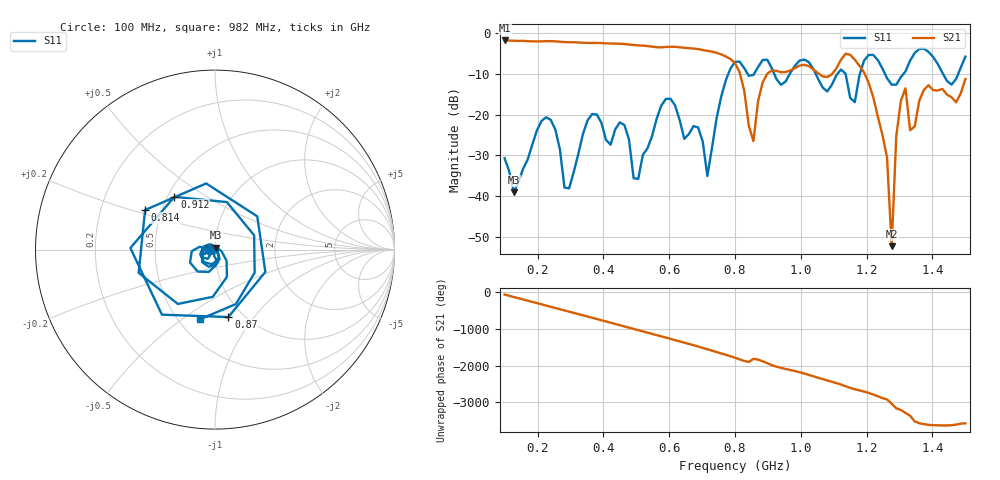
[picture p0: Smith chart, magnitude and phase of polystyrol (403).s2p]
! NanoVNA-App
! Date: 2025-09-25 15:33:01
! Start: 100MHz Stop: 1,5GHz Points: 101
! S-Parameter data: F S11 S21 S12 S22
# Hz S RI R 50
!  Frequency  S11_Real  S11_Imag  S21_Real  S21_Imag  S12_Real  S12_Imag  S22_Real  S22_Imag
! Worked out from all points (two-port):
!   101 points, 100 MHz to 1.5 GHz, reference 50 ohm
!   highest |S21| = -1.80 dB at 100 MHz (marker M1); lowest = -52.3 dB at 1.276 GHz (marker M2)
!   |S21| within 3 dB of the highest: start of sweep to 743 MHz
!   lowest |S11| = -39.1 dB at 128 MHz (marker M3), VSWR 1.02, Z = 50.3 + j1.07 ohm
!   |S11| at or under -10 dB: start of sweep to 779.7 MHz; 1.045 GHz to 1.111 GHz (66.15 MHz wide, 6.13 % of centre); 1.256 GHz to 1.312 GHz (56.22 MHz wide, 4.38 % of centre) (the widest 3 of 7)
!   S12 and S22 are empty: the file has one direction only
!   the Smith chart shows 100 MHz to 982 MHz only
!   S11 on the Smith chart (normalised r, x): 100 MHz: 0.94, -0.01; 814 MHz: 0.40, +0.22; 870 MHz: 0.86, -0.75; 912 MHz: 0.54, +0.37; 982 MHz: 0.64, -0.59
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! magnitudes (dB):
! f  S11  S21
! 100 MHz  -30.7  -1.8
! 128 MHz  -39.1  -1.9
! 212 MHz  -21.6  -2.0
! 282 MHz  -37.9  -2.2
! 338 MHz  -24.8  -2.4
! 506 MHz  -35.8  -3.0
! 576 MHz  -17.8  -3.5
! 716 MHz  -35.1  -4.3
! 800 MHz  -7.0  -7.4
! 814 MHz  -7.0  -9.6
! 856 MHz  -10.3  -26.5
! 870 MHz  -8.3  -16.7
! 912 MHz  -8.6  -9.2
! 982 MHz  -8.0  -8.6
! 1.038 GHz  -8.8  -8.9
! 1.164 GHz  -16.9  -6.5
! 1.206 GHz  -5.4  -12.2
! 1.262 GHz  -11.1  -30.6
! 1.276 GHz  -12.6  -52.3
! 1.29 GHz  -12.7  -25.3
! 1.318 GHz  -9.4  -13.5
! 1.5 GHz  -5.8  -11.3
